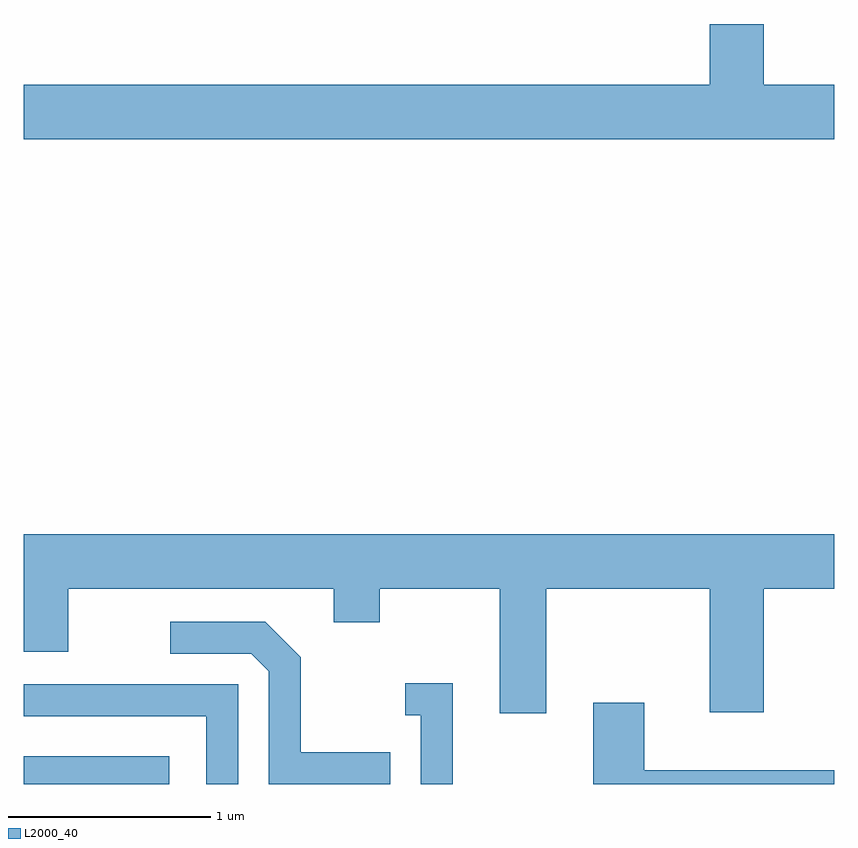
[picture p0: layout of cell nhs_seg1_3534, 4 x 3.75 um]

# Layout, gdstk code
import gdstk
lib = gdstk.Library(unit=1e-6, precision=1e-09)
def R(c, l, rs):  # rectangles x0, y0, x1, y1
    for r in rs: c.add(gdstk.rectangle(r[:2], r[2:], *l))
def P(c, l, *ps):  # polygons
    for p in ps: c.add(gdstk.Polygon(p, *l))
L2000_40 = (2000, 40)

nhs_seg1_3534 = lib.new_cell('nhs_seg1_3534')
R(nhs_seg1_3534, L2000_40, [(291.611,909.712,292.329,909.849)])
P(nhs_seg1_3534, L2000_40, [(295.611,913.164),(295.264,913.164),(295.264,913.464),(294.996,913.464),(294.996,913.164),(291.611,913.164),(291.611,912.896),(295.611,912.896)],
  [(294.189,910.676),(294.996,910.676),(294.996,910.066),(295.264,910.066),(295.264,910.676),(295.611,910.676),(295.611,910.944),(291.611,910.944),(291.611,910.366),(291.829,910.366),(291.829,910.676),(293.141,910.676),(293.141,910.511),(293.369,910.511),(293.369,910.676),(293.961,910.676),(293.961,910.061),(294.189,910.061)],
  [(293.419,909.869),(292.979,909.869),(292.979,910.337),(292.802,910.514),(292.333,910.514),(292.333,910.356),(292.734,910.356),(292.821,910.269),(292.821,909.712),(293.419,909.712)],
  [(293.729,910.209),(293.493,910.209),(293.493,910.051),(293.571,910.051),(293.571,909.712),(293.729,909.712)],
  [(292.669,910.204),(291.611,910.204),(291.611,910.046),(292.511,910.046),(292.511,909.712),(292.669,909.712)],
  [(295.611,909.779),(294.674,909.779),(294.674,910.114),(294.421,910.114),(294.421,909.712),(295.611,909.712)])

lib.write_gds('nhs_seg1_3534.gds')
